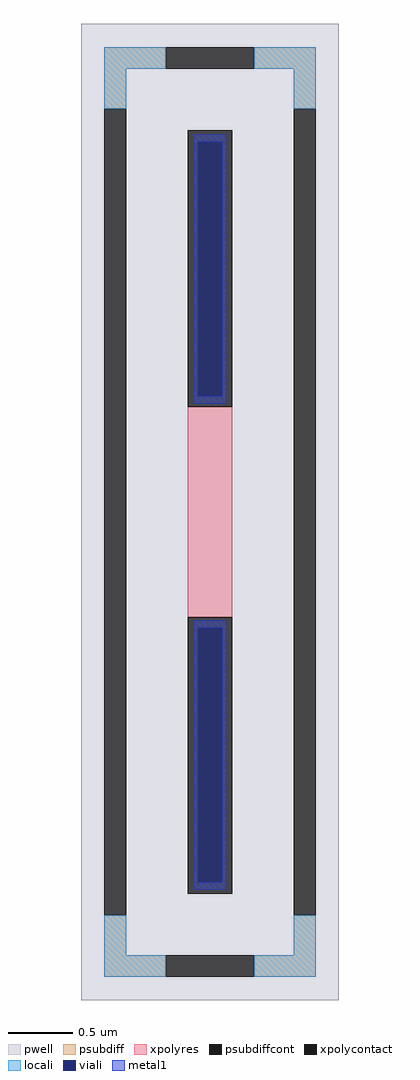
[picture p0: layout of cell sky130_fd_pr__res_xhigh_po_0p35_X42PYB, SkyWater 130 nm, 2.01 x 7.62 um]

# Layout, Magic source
magic
tech sky130A
magscale 1 2
<< pwell >>
rect -201 -762 201 762
<< psubdiff >>
rect -165 692 -69 726
rect 69 692 165 726
rect -165 630 -131 692
rect 131 630 165 692
rect -165 -692 -131 -630
rect 131 -692 165 -630
rect -165 -726 -69 -692
rect 69 -726 165 -692
<< psubdiffcont >>
rect -69 692 69 726
rect -165 -630 -131 630
rect 131 -630 165 630
rect -69 -726 69 -692
<< xpolycontact >>
rect -35 164 35 596
rect -35 -596 35 -164
<< xpolyres >>
rect -35 -164 35 164
<< locali >>
rect -165 692 -69 726
rect 69 692 165 726
rect -165 630 -131 692
rect 131 630 165 692
rect -165 -692 -131 -630
rect 131 -692 165 -630
rect -165 -726 -69 -692
rect 69 -726 165 -692
<< viali >>
rect -19 181 19 578
rect -19 -578 19 -181
<< metal1 >>
rect -25 578 25 590
rect -25 181 -19 578
rect 19 181 25 578
rect -25 169 25 181
rect -25 -181 25 -169
rect -25 -578 -19 -181
rect 19 -578 25 -181
rect -25 -590 25 -578
<< properties >>
string FIXED_BBOX -148 -709 148 709
string gencell sky130_fd_pr__res_xhigh_po_0p35
string library sky130
string parameters w 0.350 l 1.8 m 1 nx 1 wmin 0.350 lmin 0.50 rho 2000 val 11.361k dummy 0 dw 0.0 term 188.2 sterm 0.0 caplen 0 wmax 0.350 guard 1 glc 1 grc 1 gtc 1 gbc 1 compatible {sky130_fd_pr__res_xhigh_po_0p35  sky130_fd_pr__res_xhigh_po_0p69 sky130_fd_pr__res_xhigh_po_1p41  sky130_fd_pr__res_xhigh_po_2p85 sky130_fd_pr__res_xhigh_po_5p73} snake 0 full_metal 1 n_guard 0 hv_guard 0 vias 1 viagb 0 viagt 0 viagl 0 viagr 0
<< end >>
